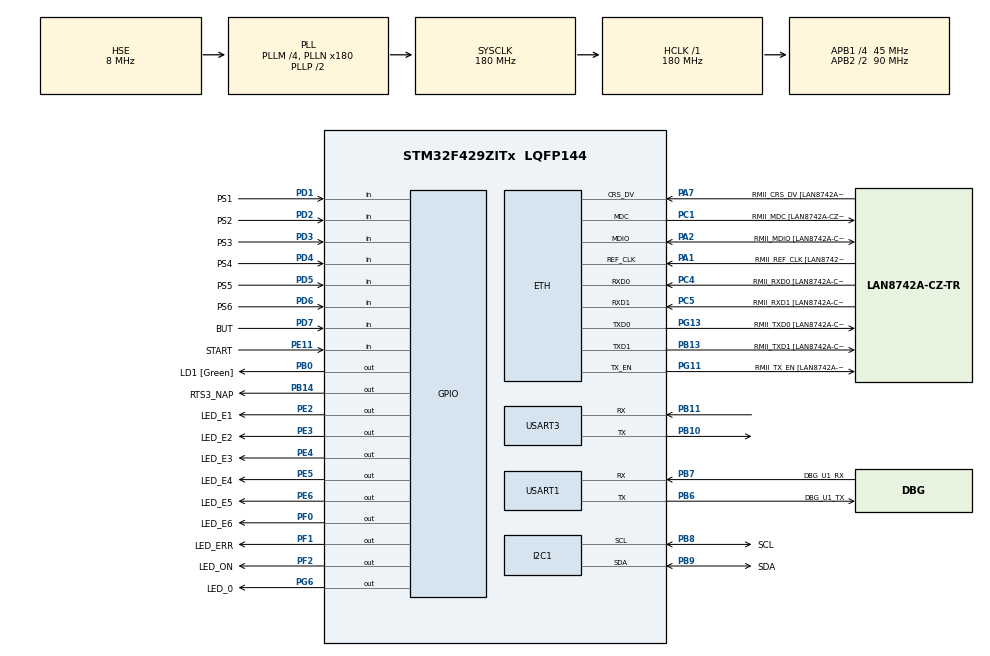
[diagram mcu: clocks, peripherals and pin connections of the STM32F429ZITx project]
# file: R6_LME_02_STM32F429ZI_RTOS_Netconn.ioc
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ETH.MediaInterface=ETH_MEDIA_INTERFACE_RMII
ETH.PHY_Name=LAN8742A_PHY_ADDRESS
ETH.PHY_Value=0
ETH.PhyAddress=0
FREERTOS.INCLUDE_vTaskDelayUntil=1
FREERTOS.INCLUDE_vTaskSuspend=1
FREERTOS.Tasks01=defaultTask,0,1024,ThreadDefaultTask,Default,NULL,Dynamic,NULL,NULL;mainLogicTask,0,512,ThreadMainLogic,As external,NULL,Static,mainLogicTaskBuffer,mainLogicTaskControlBlock
FREERTOS.Timers01=timer1sec,tick1sec,osTimerPeriodic,As external,NULL,Static,timer1secControlBlock
FREERTOS.configTIMER_QUEUE_LENGTH=20
FREERTOS.configTIMER_TASK_PRIORITY=2
FREERTOS.configTOTAL_HEAP_SIZE=25600
FREERTOS.configUSE_COUNTING_SEMAPHORES=0
FREERTOS.configUSE_STATS_FORMATTING_FUNCTIONS=1
FREERTOS.configUSE_TIMERS=1
FREERTOS.configUSE_TRACE_FACILITY=1
I2C1.I2C_Mode=I2C_Fast
LWIP.GATEWAY_ADDRESS=192.168.000.249
LWIP.HTTPD_MAX_RETRIES=4
LWIP.IP_ADDRESS=192.168.000.010
LWIP.LWIP_DHCP=1
LWIP.LWIP_HTTPD=1
LWIP.LWIP_HTTPD_CUSTOM_FILES=0
LWIP.LWIP_PERF=0
LWIP.LWIP_SOCKET=0
LWIP.LWIP_SO_RCVTIMEO=1
LWIP.MEMP_NUM_PBUF=16
LWIP.MEM_SIZE=10240
LWIP.NETMASK_ADDRESS=255.255.255.000
LWIP.TCP_MSS=1460
LWIP.Version=v2.1.2_Cube
Mcu.Family=STM32F4
Mcu.Name=STM32F429ZITx
Mcu.Package=LQFP144
NVIC.ETH_IRQn=true\:5\:0\:false\:false\:true\:true\:false\:true
NVIC.PriorityGroup=NVIC_PRIORITYGROUP_4
NVIC.TIM1_UP_TIM10_IRQn=true\:0\:0\:false\:false\:true\:false\:false\:true
NVIC.TimeBase=TIM1_UP_TIM10_IRQn
NVIC.TimeBaseIP=TIM1
NVIC.USART1_IRQn=true\:15\:0\:true\:false\:false\:true\:true\:false
NVIC.USART3_IRQn=true\:6\:0\:true\:false\:false\:true\:true\:false
PA1.GPIO_Label=RMII_REF_CLK [LAN8742A-CZ-TR_REFCLK0]
PA1.Mode=RMII
PA1.Signal=ETH_REF_CLK
PA13.GPIO_Label=SWDIO
PA13.Mode=Serial_Wire
PA13.Signal=SYS_JTMS-SWDIO
PA14.GPIO_Label=SWCLK
PA14.Mode=Serial_Wire
PA14.Signal=SYS_JTCK-SWCLK
PA2.GPIO_Label=RMII_MDIO [LAN8742A-CZ-TR_MDIO]
PA2.Mode=RMII
PA2.Signal=ETH_MDIO
PA7.GPIO_Label=RMII_CRS_DV [LAN8742A-CZ-TR_CRS_DV]
PA7.Mode=RMII
PA7.Signal=ETH_CRS_DV
PB0.GPIO_Label=LD1 [Green]
PB0.Signal=GPIO_Output
PB10.Mode=Asynchronous
PB10.Signal=USART3_TX
PB11.Mode=Asynchronous
PB11.Signal=USART3_RX
PB13.GPIO_Label=RMII_TXD1 [LAN8742A-CZ-TR_TXD1]
PB13.Mode=RMII
PB13.Signal=ETH_TXD1
PB14.GPIO_Label=RTS3_NAP
PB14.GPIO_Speed=GPIO_SPEED_FREQ_HIGH
PB14.Signal=GPIO_Output
PB6.GPIO_Label=DBG_U1_TX
PB6.Mode=Asynchronous
PB6.Signal=USART1_TX
PB7.GPIO_Label=DBG_U1_RX
PB7.Mode=Asynchronous
PB7.Signal=USART1_RX
PB8.GPIO_Label=SCL
PB8.Mode=I2C
PB8.Signal=I2C1_SCL
PB9.GPIO_Label=SDA
PB9.Mode=I2C
PB9.Signal=I2C1_SDA
PC1.GPIO_Label=RMII_MDC [LAN8742A-CZ-TR_MDC]
PC1.Mode=RMII
PC1.Signal=ETH_MDC
PC4.GPIO_Label=RMII_RXD0 [LAN8742A-CZ-TR_RXD0]
PC4.Mode=RMII
PC4.Signal=ETH_RXD0
PC5.GPIO_Label=RMII_RXD1 [LAN8742A-CZ-TR_RXD1]
PC5.Mode=RMII
PC5.Signal=ETH_RXD1
PD1.GPIO_Label=PS1
PD1.Signal=GPIO_Input
PD2.GPIO_Label=PS2
PD2.Signal=GPIO_Input
PD3.GPIO_Label=PS3
PD3.Signal=GPIO_Input
PD4.GPIO_Label=PS4
PD4.Signal=GPIO_Input
PD5.GPIO_Label=PS5
PD5.Signal=GPIO_Input
PD6.GPIO_Label=PS6
PD6.Signal=GPIO_Input
PD7.GPIO_Label=BUT
PD7.GPIO_PuPd=GPIO_PULLUP
PD7.Signal=GPIO_Input
PE11.GPIO_Label=START
PE11.Signal=GPIO_Input
PE2.GPIO_Label=LED_E1
PE2.PinState=GPIO_PIN_RESET
PE2.Signal=GPIO_Output
PE3.GPIO_Label=LED_E2
PE3.PinState=GPIO_PIN_RESET
PE3.Signal=GPIO_Output
PE4.GPIO_Label=LED_E3
PE4.Signal=GPIO_Output
PE5.GPIO_Label=LED_E4
PE5.Signal=GPIO_Output
PE6.GPIO_Label=LED_E5
PE6.Signal=GPIO_Output
PF0.GPIO_Label=LED_E6
PF0.Signal=GPIO_Output
PF1.GPIO_Label=LED_ERR
PF1.Signal=GPIO_Output
PF2.GPIO_Label=LED_ON
PF2.PinState=GPIO_PIN_SET
PF2.Signal=GPIO_Output
PG11.GPIO_Label=RMII_TX_EN [LAN8742A-CZ-TR_TXEN]
PG11.Mode=RMII
PG11.Signal=ETH_TX_EN
PG13.GPIO_Label=RMII_TXD0 [LAN8742A-CZ-TR_TXD0]
PG13.Mode=RMII
PG13.Signal=ETH_TXD0
PG6.GPIO_Label=LED_0
PG6.Signal=GPIO_Output
PH0/OSC_IN.Mode=HSE-External-Oscillator
PH0/OSC_IN.Signal=RCC_OSC_IN
PH1/OSC_OUT.Mode=HSE-External-Oscillator
PH1/OSC_OUT.Signal=RCC_OSC_OUT
ProjectManager.HeapSize=0x1000
ProjectManager.StackSize=0x800
ProjectManager.TargetToolchain=MDK-ARM V5.27
RCC.48MHZClocksFreq_Value=51428571.428571425
RCC.AHBFreq_Value=180000000
RCC.APB1CLKDivider=RCC_HCLK_DIV4
RCC.APB1Freq_Value=45000000
RCC.APB1TimFreq_Value=90000000
RCC.APB2CLKDivider=RCC_HCLK_DIV2
RCC.APB2Freq_Value=90000000
RCC.APB2TimCLKDivider=2
RCC.APB2TimFreq_Value=180000000
RCC.CortexFreq_Value=180000000
RCC.HCLKFreq_Value=180000000
RCC.HSE_VALUE=8000000
RCC.HSI_VALUE=16000000
RCC.LSE_VALUE=32768
RCC.PLLM=4
RCC.PLLMUL=RCC_PLL_MUL9
RCC.PLLN=180
RCC.PLLQ=7
RCC.PLLSourceVirtual=RCC_PLLSOURCE_HSE
RCC.PRESCALERUSB=RCC_USBCLKSOURCE_PLL_DIV1_5
RCC.SYSCLKFreq_VALUE=180000000
RCC.SYSCLKSource=RCC_SYSCLKSOURCE_PLLCLK
RCC.SYSCLKSourceVirtual=RCC_SYSCLKSOURCE_PLLCLK
RCC.USBFreq_Value=48000000
RCC.VCOOutputFreq_Value=360000000
USART1.VirtualMode=VM_ASYNC
USART3.VirtualMode=VM_ASYNC
VP_FREERTOS_VS_CMSIS_V1.Mode=CMSIS_V1
VP_LWIP_VS_Enabled.Mode=Enabled
VP_SYS_VS_tim1.Mode=TIM1
board=NUCLEO-F429ZI

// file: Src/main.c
/* USER CODE BEGIN Header */
/**
  ******************************************************************************
  * @file           : main.c
  * @brief          : Main program body
  ******************************************************************************
  * @attention
  *
  * <h2><center>&copy; Copyright (c) 2023 STMicroelectronics.
  * All rights reserved.</center></h2>
  *
  * This software component is licensed by ST under Ultimate Liberty license
  * SLA0044, the "License"; You may not use this file except in compliance with
  * the License. You may obtain a copy of the License at:
  *                             www.st.com/SLA0044
  *
  ******************************************************************************
  */
/* USER CODE END Header */

#include "main.h"
#include "cmsis_os.h"
#include "lwip.h"

/* USER CODE BEGIN Includes */
#include "app_ethernet.h"
#include "httpserver-netconn.h"
#include "dbg_uart.h"
#include "Base64.h"
#include "main_logic.h"
#include "global_vars.h"
#include "uart.h"
#include "main_logic.h"
/* USER CODE END Includes */

I2C_HandleTypeDef hi2c1;

osThreadId defaultTaskHandle;
osThreadId mainLogicTaskHandle;
uint32_t mainLogicTaskBuffer[ 512 ];
osStaticThreadDef_t mainLogicTaskControlBlock;
osTimerId timer1secHandle;
osStaticTimerDef_t timer1secControlBlock;
/* USER CODE BEGIN PV */
extern struct netif gnetif;
/* USER CODE END PV */

void SystemClock_Config(void);
static void MX_GPIO_Init(void);
static void MX_USART1_UART_Init(void);
static void MX_I2C1_Init(void);
static void MX_USART3_UART_Init(void);
void ThreadDefaultTask(void const * argument);
extern void ThreadMainLogic(void const * argument);
extern void tick1sec(void const * argument);

int main(void)
{

  /* MCU Configuration--------------------------------------------------------*/

  /* Reset of all peripherals, Initializes the Flash interface and the Systick. */
  HAL_Init();

  /* USER CODE BEGIN Init */

  /* Reset the RCC clock configuration to the default reset state ------------*/
  /* Set HSION bit */
  RCC->CR |= (uint32_t)0x00000001;

  /* Reset CFGR register */
  RCC->CFGR = 0x00000000;

  /* Reset HSEON, CSSON and PLLON bits */
  RCC->CR &= (uint32_t)0xFEF6FFFF;

  /* Reset PLLCFGR register */
  RCC->PLLCFGR = 0x24003010;

  /* Reset HSEBYP bit */
  RCC->CR &= (uint32_t)0xFFFBFFFF;

  /* Disable all interrupts */
  RCC->CIR = 0x00000000;
  /* USER CODE END Init */

  /* Configure the system clock */
  SystemClock_Config();

  /* Initialize all configured peripherals */
  MX_GPIO_Init();
  MX_USART1_UART_Init();
  MX_I2C1_Init();
  MX_USART3_UART_Init();
  /* USER CODE BEGIN 2 */
	dbgUartResumeTx();
  uartInit();
  initEepVars();
  /* USER CODE END 2 */

  /* Create the timer(s) */
  /* definition and creation of timer1sec */
  osTimerStaticDef(timer1sec, tick1sec, &timer1secControlBlock);
  timer1secHandle = osTimerCreate(osTimer(timer1sec), osTimerPeriodic, NULL);

  /* Create the thread(s) */
  /* definition and creation of defaultTask */
  osThreadDef(defaultTask, ThreadDefaultTask, osPriorityNormal, 0, 1024);
  defaultTaskHandle = osThreadCreate(osThread(defaultTask), NULL);

  /* definition and creation of mainLogicTask */
  osThreadStaticDef(mainLogicTask, ThreadMainLogic, osPriorityNormal, 0, 512, mainLogicTaskBuffer, &mainLogicTaskControlBlock);
  mainLogicTaskHandle = osThreadCreate(osThread(mainLogicTask), NULL);

  /* USER CODE BEGIN RTOS_THREADS */
  /* add threads, ... */
  osTimerStart(timer1secHandle, 1000);
  /* USER CODE END RTOS_THREADS */

  /* Start scheduler */
  osKernelStart();

  /* We should never get here as control is now taken by the scheduler */
  /* Infinite loop */
  while (1)
  {

  }
}

void SystemClock_Config(void)
{
  RCC_OscInitTypeDef RCC_OscInitStruct = {0};
  RCC_ClkInitTypeDef RCC_ClkInitStruct = {0};

  /** Configure the main internal regulator output voltage
  */
  __HAL_RCC_PWR_CLK_ENABLE();
  __HAL_PWR_VOLTAGESCALING_CONFIG(PWR_REGULATOR_VOLTAGE_SCALE1);
  /** Initializes the CPU, AHB and APB busses clocks
  */
  RCC_OscInitStruct.OscillatorType = RCC_OSCILLATORTYPE_HSE;
  RCC_OscInitStruct.HSEState = RCC_HSE_ON;
  RCC_OscInitStruct.PLL.PLLState = RCC_PLL_ON;
  RCC_OscInitStruct.PLL.PLLSource = RCC_PLLSOURCE_HSE;
  RCC_OscInitStruct.PLL.PLLM = 4;
  RCC_OscInitStruct.PLL.PLLN = 180;
  RCC_OscInitStruct.PLL.PLLP = RCC_PLLP_DIV2;
  RCC_OscInitStruct.PLL.PLLQ = 7;
  if (HAL_RCC_OscConfig(&RCC_OscInitStruct) != HAL_OK)
  {
    Error_Handler();
  }
  /** Activate the Over-Drive mode
  */
  if (HAL_PWREx_EnableOverDrive() != HAL_OK)
  {
    Error_Handler();
  }
  /** Initializes the CPU, AHB and APB busses clocks
  */
  RCC_ClkInitStruct.ClockType = RCC_CLOCKTYPE_HCLK|RCC_CLOCKTYPE_SYSCLK
                              |RCC_CLOCKTYPE_PCLK1|RCC_CLOCKTYPE_PCLK2;
  RCC_ClkInitStruct.SYSCLKSource = RCC_SYSCLKSOURCE_PLLCLK;
  RCC_ClkInitStruct.AHBCLKDivider = RCC_SYSCLK_DIV1;
  RCC_ClkInitStruct.APB1CLKDivider = RCC_HCLK_DIV4;
  RCC_ClkInitStruct.APB2CLKDivider = RCC_HCLK_DIV2;

  if (HAL_RCC_ClockConfig(&RCC_ClkInitStruct, FLASH_LATENCY_5) != HAL_OK)
  {
    Error_Handler();
  }
}

static void MX_I2C1_Init(void)
{

  hi2c1.Instance = I2C1;
  hi2c1.Init.ClockSpeed = 400000;
  hi2c1.Init.DutyCycle = I2C_DUTYCYCLE_2;
  hi2c1.Init.OwnAddress1 = 0;
  hi2c1.Init.AddressingMode = I2C_ADDRESSINGMODE_7BIT;
  hi2c1.Init.DualAddressMode = I2C_DUALADDRESS_DISABLE;
  hi2c1.Init.OwnAddress2 = 0;
  hi2c1.Init.GeneralCallMode = I2C_GENERALCALL_DISABLE;
  hi2c1.Init.NoStretchMode = I2C_NOSTRETCH_DISABLE;
  if (HAL_I2C_Init(&hi2c1) != HAL_OK)
  {
    Error_Handler();
  }
  /** Configure Analogue filter
  */
  if (HAL_I2CEx_ConfigAnalogFilter(&hi2c1, I2C_ANALOGFILTER_ENABLE) != HAL_OK)
  {
    Error_Handler();
  }
  /** Configure Digital filter
  */
  if (HAL_I2CEx_ConfigDigitalFilter(&hi2c1, 0) != HAL_OK)
  {
    Error_Handler();
  }

}

static void MX_USART1_UART_Init(void)
{

  LL_USART_InitTypeDef USART_InitStruct = {0};

  LL_GPIO_InitTypeDef GPIO_InitStruct = {0};

  /* Peripheral clock enable */
  LL_APB2_GRP1_EnableClock(LL_APB2_GRP1_PERIPH_USART1);

  LL_AHB1_GRP1_EnableClock(LL_AHB1_GRP1_PERIPH_GPIOB);
  /**USART1 GPIO Configuration
  PB6   ------> USART1_TX
  PB7   ------> USART1_RX
  */
  GPIO_InitStruct.Pin = LL_GPIO_PIN_6|LL_GPIO_PIN_7;
  GPIO_InitStruct.Mode = LL_GPIO_MODE_ALTERNATE;
  GPIO_InitStruct.Speed = LL_GPIO_SPEED_FREQ_VERY_HIGH;
  GPIO_InitStruct.OutputType = LL_GPIO_OUTPUT_PUSHPULL;
  GPIO_InitStruct.Pull = LL_GPIO_PULL_NO;
  GPIO_InitStruct.Alternate = LL_GPIO_AF_7;
  LL_GPIO_Init(GPIOB, &GPIO_InitStruct);

  /* USART1 interrupt Init */
  NVIC_SetPriority(USART1_IRQn, NVIC_EncodePriority(NVIC_GetPriorityGrouping(),15, 0));
  NVIC_EnableIRQ(USART1_IRQn);

  USART_InitStruct.BaudRate = 115200;
  USART_InitStruct.DataWidth = LL_USART_DATAWIDTH_8B;
  USART_InitStruct.StopBits = LL_USART_STOPBITS_1;
  USART_InitStruct.Parity = LL_USART_PARITY_NONE;
  USART_InitStruct.TransferDirection = LL_USART_DIRECTION_TX_RX;
  USART_InitStruct.HardwareFlowControl = LL_USART_HWCONTROL_NONE;
  USART_InitStruct.OverSampling = LL_USART_OVERSAMPLING_16;
  LL_USART_Init(USART1, &USART_InitStruct);
  LL_USART_ConfigAsyncMode(USART1);
  LL_USART_Enable(USART1);

}

static void MX_USART3_UART_Init(void)
{

  LL_USART_InitTypeDef USART_InitStruct = {0};

  LL_GPIO_InitTypeDef GPIO_InitStruct = {0};

  /* Peripheral clock enable */
  LL_APB1_GRP1_EnableClock(LL_APB1_GRP1_PERIPH_USART3);

  LL_AHB1_GRP1_EnableClock(LL_AHB1_GRP1_PERIPH_GPIOB);
  /**USART3 GPIO Configuration
  PB10   ------> USART3_TX
  PB11   ------> USART3_RX
  */
  GPIO_InitStruct.Pin = LL_GPIO_PIN_10|LL_GPIO_PIN_11;
  GPIO_InitStruct.Mode = LL_GPIO_MODE_ALTERNATE;
  GPIO_InitStruct.Speed = LL_GPIO_SPEED_FREQ_VERY_HIGH;
  GPIO_InitStruct.OutputType = LL_GPIO_OUTPUT_PUSHPULL;
  GPIO_InitStruct.Pull = LL_GPIO_PULL_NO;
  GPIO_InitStruct.Alternate = LL_GPIO_AF_7;
  LL_GPIO_Init(GPIOB, &GPIO_InitStruct);

  /* USART3 interrupt Init */
  NVIC_SetPriority(USART3_IRQn, NVIC_EncodePriority(NVIC_GetPriorityGrouping(),6, 0));
  NVIC_EnableIRQ(USART3_IRQn);

  USART_InitStruct.BaudRate = 115200;
  USART_InitStruct.DataWidth = LL_USART_DATAWIDTH_8B;
  USART_InitStruct.StopBits = LL_USART_STOPBITS_1;
  USART_InitStruct.Parity = LL_USART_PARITY_NONE;
  USART_InitStruct.TransferDirection = LL_USART_DIRECTION_TX_RX;
  USART_InitStruct.HardwareFlowControl = LL_USART_HWCONTROL_NONE;
  USART_InitStruct.OverSampling = LL_USART_OVERSAMPLING_16;
  LL_USART_Init(USART3, &USART_InitStruct);
  LL_USART_ConfigAsyncMode(USART3);
  LL_USART_Enable(USART3);

}

static void MX_GPIO_Init(void)
{
  GPIO_InitTypeDef GPIO_InitStruct = {0};

  /* GPIO Ports Clock Enable */
  __HAL_RCC_GPIOE_CLK_ENABLE();
  __HAL_RCC_GPIOF_CLK_ENABLE();
  __HAL_RCC_GPIOH_CLK_ENABLE();
  __HAL_RCC_GPIOC_CLK_ENABLE();
  __HAL_RCC_GPIOA_CLK_ENABLE();
  __HAL_RCC_GPIOB_CLK_ENABLE();
  __HAL_RCC_GPIOG_CLK_ENABLE();
  __HAL_RCC_GPIOD_CLK_ENABLE();

  /*Configure GPIO pin Output Level */
  HAL_GPIO_WritePin(GPIOE, LED_E1_Pin|LED_E2_Pin|LED_E3_Pin|LED_E4_Pin
                          |LED_E5_Pin, GPIO_PIN_RESET);

  /*Configure GPIO pin Output Level */
  HAL_GPIO_WritePin(GPIOF, LED_E6_Pin|LED_ERR_Pin, GPIO_PIN_RESET);

  /*Configure GPIO pin Output Level */
  HAL_GPIO_WritePin(LED_ON_GPIO_Port, LED_ON_Pin, GPIO_PIN_SET);

  /*Configure GPIO pin Output Level */
  HAL_GPIO_WritePin(GPIOB, LD1_Pin|RTS3_NAP_Pin, GPIO_PIN_RESET);

  /*Configure GPIO pin Output Level */
  HAL_GPIO_WritePin(LED_0_GPIO_Port, LED_0_Pin, GPIO_PIN_RESET);

  /*Configure GPIO pins : LED_E1_Pin LED_E2_Pin LED_E3_Pin LED_E4_Pin
                           LED_E5_Pin */
  GPIO_InitStruct.Pin = LED_E1_Pin|LED_E2_Pin|LED_E3_Pin|LED_E4_Pin
                          |LED_E5_Pin;
  GPIO_InitStruct.Mode = GPIO_MODE_OUTPUT_PP;
  GPIO_InitStruct.Pull = GPIO_NOPULL;
  GPIO_InitStruct.Speed = GPIO_SPEED_FREQ_LOW;
  HAL_GPIO_Init(GPIOE, &GPIO_InitStruct);

  /*Configure GPIO pins : LED_E6_Pin LED_ERR_Pin LED_ON_Pin */
  GPIO_InitStruct.Pin = LED_E6_Pin|LED_ERR_Pin|LED_ON_Pin;
  GPIO_InitStruct.Mode = GPIO_MODE_OUTPUT_PP;
  GPIO_InitStruct.Pull = GPIO_NOPULL;
  GPIO_InitStruct.Speed = GPIO_SPEED_FREQ_LOW;
  HAL_GPIO_Init(GPIOF, &GPIO_InitStruct);

  /*Configure GPIO pin : LD1_Pin */
  GPIO_InitStruct.Pin = LD1_Pin;
  GPIO_InitStruct.Mode = GPIO_MODE_OUTPUT_PP;
  GPIO_InitStruct.Pull = GPIO_NOPULL;
  GPIO_InitStruct.Speed = GPIO_SPEED_FREQ_LOW;
  HAL_GPIO_Init(LD1_GPIO_Port, &GPIO_InitStruct);

  /*Configure GPIO pin : START_Pin */
  GPIO_InitStruct.Pin = START_Pin;
  GPIO_InitStruct.Mode = GPIO_MODE_INPUT;
  GPIO_InitStruct.Pull = GPIO_NOPULL;
  HAL_GPIO_Init(START_GPIO_Port, &GPIO_InitStruct);

  /*Configure GPIO pin : RTS3_NAP_Pin */
  GPIO_InitStruct.Pin = RTS3_NAP_Pin;
  GPIO_InitStruct.Mode = GPIO_MODE_OUTPUT_PP;
  GPIO_InitStruct.Pull = GPIO_NOPULL;
  GPIO_InitStruct.Speed = GPIO_SPEED_FREQ_HIGH;
  HAL_GPIO_Init(RTS3_NAP_GPIO_Port, &GPIO_InitStruct);

  /*Configure GPIO pin : LED_0_Pin */
  GPIO_InitStruct.Pin = LED_0_Pin;
  GPIO_InitStruct.Mode = GPIO_MODE_OUTPUT_PP;
  GPIO_InitStruct.Pull = GPIO_NOPULL;
  GPIO_InitStruct.Speed = GPIO_SPEED_FREQ_LOW;
  HAL_GPIO_Init(LED_0_GPIO_Port, &GPIO_InitStruct);

  /*Configure GPIO pins : PS1_Pin PS2_Pin PS3_Pin PS4_Pin
                           PS5_Pin PS6_Pin */
  GPIO_InitStruct.Pin = PS1_Pin|PS2_Pin|PS3_Pin|PS4_Pin
                          |PS5_Pin|PS6_Pin;
  GPIO_InitStruct.Mode = GPIO_MODE_INPUT;
  GPIO_InitStruct.Pull = GPIO_NOPULL;
  HAL_GPIO_Init(GPIOD, &GPIO_InitStruct);

  /*Configure GPIO pin : BUT_Pin */
  GPIO_InitStruct.Pin = BUT_Pin;
  GPIO_InitStruct.Mode = GPIO_MODE_INPUT;
  GPIO_InitStruct.Pull = GPIO_PULLUP;
  HAL_GPIO_Init(BUT_GPIO_Port, &GPIO_InitStruct);

}

void ThreadDefaultTask(void const * argument)
{
  /* init code for LWIP */
  MX_LWIP_Init();
  /* USER CODE BEGIN 5 */

    /* Initialize webserver demo */
  http_server_netconn_init();
  dbgUartPuts("Start ThreadDefaultTask.\r");
  /* Infinite loop */
  for(;;)
  {
    defaultTaskMainLoop();
  }
  /* USER CODE END 5 */
}

 /**
  * @brief  Period elapsed callback in non blocking mode
  * @note   This function is called  when TIM1 interrupt took place, inside
  * HAL_TIM_IRQHandler(). It makes a direct call to HAL_IncTick() to increment
  * a global variable "uwTick" used as application time base.
  * @param  htim : TIM handle
  * @retval None
  */
void HAL_TIM_PeriodElapsedCallback(TIM_HandleTypeDef *htim)
{
  if (htim->Instance == TIM1) {
    HAL_IncTick();
  }
}

void Error_Handler(void)
{
}

/************************ (C) COPYRIGHT STMicroelectronics *****END OF FILE****/
